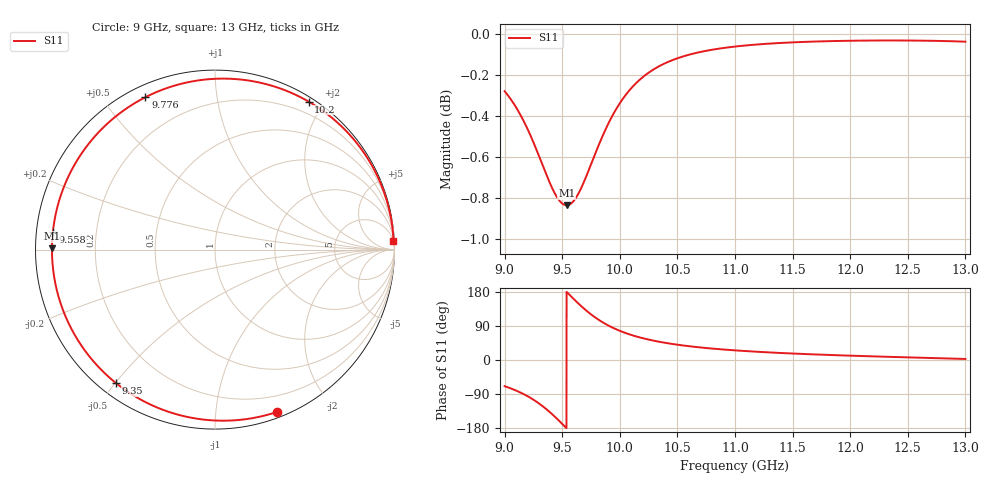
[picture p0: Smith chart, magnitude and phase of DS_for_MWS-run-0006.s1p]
! TOUCHSTONE file generated by CST DESIGN STUDIO
! Date and time: Tue Feb  4 13:32:34 2025
! Project name: C:\Work\MatlabApps\UnitCellOptimizationMatlab\CST\unitcell.cst
! Tree item: Tasks\Sweep1\SPara1\S-Parameters
! Header version: 2024
! Port assignment regex: !\s*Touchstone port\s*([0-9]+)\s*=\s*(CST MWS port|CST DES external port|CST DES block port)\s*(.+)\s* \(\"(.*)\"\)(\s*mode\s*([0-9]+))?.*
! Touchstone port assignment:
! Touchstone port 1 = CST DES external port 1 ("")
# GHz S MA R 50
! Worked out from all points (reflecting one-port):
!   4001 points, 9 GHz to 13 GHz, reference 50 ohm
!   lowest |S11| = -0.8 dB at 9.539 GHz (marker M1), VSWR 20.83, Z = 2.4 + j0.198 ohm
!   phase of S11 starts at -69 deg and turns -288 deg over the sweep
!   S11 on the Smith chart (normalised r, x): 9 GHz: 0.05, -1.45; 9.35 GHz: 0.05, -0.50; 9.558 GHz: 0.05, +0.05; 9.776 GHz: 0.05, +0.64; 10.2 GHz: 0.05, +1.81; 13 GHz: 4, +41
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9  0.9682 -69.2
9.099  0.9596 -80.6
9.207  0.9469 -96.9
9.282  0.9362 -111.2
9.35  0.9259 -126.6
9.421  0.9161 -145.3
9.462  0.9118 -157.1
9.5  0.9093 -168.5
9.539  0.9084 179.5
9.558  0.9086 173.7
9.612  0.9115 157.4
9.673  0.9182 140.0
9.724  0.9254 126.7
9.776  0.9333 114.6
9.823  0.9403 104.8
9.875  0.9476 95.2
9.937  0.9552 85.4
10  0.9617 77.0
10.094  0.9695 66.6
10.197  0.9758 57.7
10.336  0.9817 48.5
10.5  0.9862 40.3
10.721  0.99 32.4
11  0.9927 25.4
11.5  0.9951 17.1
12  0.996 11.4
12.5  0.9961 6.9
13  0.9955 2.7
